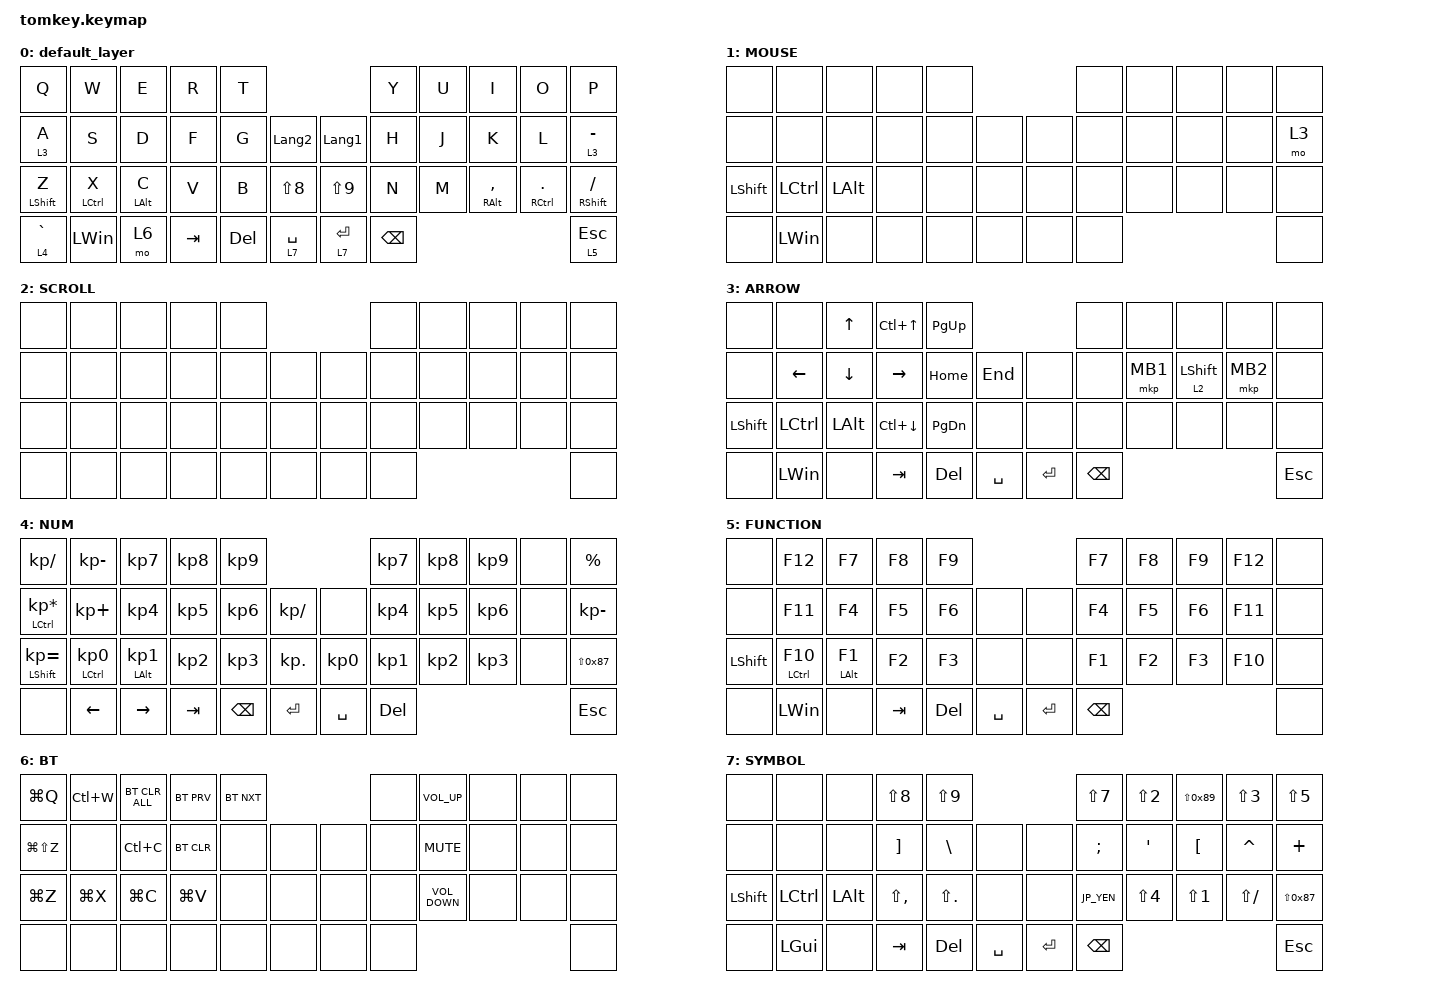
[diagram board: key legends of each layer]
#include <behaviors.dtsi>
#include <dt-bindings/zmk/bt.h>
#include <dt-bindings/zmk/keys.h>
#include <dt-bindings/zmk/pointing.h>

// OS設定を日本語キーボードのまま使用するための変換定義

#define JP_DQUOTE       AT                // "
#define JP_AMPERSAND    CARET             // &
#define JP_QUOTE        AMPERSAND         // '
#define JP_EQUAL        UNDER             // =
#define JP_CARET        EQUAL             // ^
#define JP_YEN          0x89              // ¥
#define JP_PLUS         COLON             // +
#define JP_TILDE        PLUS              // ~
#define JP_PIPE         LS(0x89)          // |
#define JP_AT           LEFT_BRACKET      // @
#define JP_COLON        SINGLE_QUOTE      // :
#define JP_ASTERISK     DOUBLE_QUOTES     // *
#define JP_BACKQUOTE    LEFT_BRACE        // `
#define JP_UNDERSCORE   LS(0x87)          // _
#define JP_LBRACKET     RIGHT_BRACKET     // [
#define JP_RBRACKET     BACKSLASH         // ]
#define JP_LPAREN       ASTERISK          // (
#define JP_RPAREN       LEFT_PARENTHESIS  // )
#define JP_LBRACE       RIGHT_BRACE       // {
#define JP_RBRACE       PIPE              // }
#define JP_KANA         LANGUAGE_1        // かな
#define JP_EISU         LANGUAGE_2        // 英数
#define JP_HANZEN       GRAVE             // 半角/全角

&mt { flavor = "tap-preferred"; };

/ {
    behaviors {
        ST: Scroll_Tap {
            compatible = "zmk,behavior-hold-tap";
            label = "SCROLL / TAP";
            bindings = <&mo>, <&kp>;

            #binding-cells = <2>;
            flavor = "balanced";
            hold-while-undecided;
            tapping-term-ms = <200>;
        };
    };

    keymap {
        compatible = "zmk,keymap";

        default_layer {
            bindings = <
&kp Q        &kp W         &kp E           &kp R    &kp T                                            &kp Y     &kp U  &kp I                &kp O             &kp P
&lt 3 A      &kp S         &kp D           &kp F    &kp G    &kp LANGUAGE_2        &kp LANGUAGE_1    &kp H     &kp J  &kp K                &kp L             &lt 3 MINUS
&mt LSHFT Z  &mt LCTRL X   &mt LEFT_ALT C  &kp V    &kp B    &kp LS(NUMBER_8)      &kp LS(NUMBER_9)  &kp N     &kp M  &mt RIGHT_ALT COMMA  &mt RCTRL PERIOD  &mt RSHFT SLASH
&lt 4 GRAVE  &kp LEFT_WIN  &mo 6           &kp TAB  &kp DEL  &lt 7 SPACE           &lt 7 ENTER       &kp BSPC                                                &lt 5 ESC
            >;
        };

        MOUSE {
            bindings = <
&none           &none         &none         &none  &none                    &none  &none  &none  &none  &none
&none           &none         &none         &none  &none  &none      &none  &none  &none  &none  &none  &mo 3
&kp LEFT_SHIFT  &kp LCTRL     &kp LEFT_ALT  &none  &none  &none      &none  &none  &none  &none  &none  &none
&none           &kp LEFT_WIN  &none         &none  &none  &none      &none  &none                       &none
            >;
        };

        SCROLL {
            bindings = <
&none  &none  &none  &none  &none                    &none  &none  &none  &none  &none
&none  &none  &none  &none  &none  &none      &none  &none  &none  &none  &none  &none
&none  &none  &none  &none  &none  &none      &none  &none  &none  &none  &none  &none
&none  &none  &none  &none  &none  &none      &none  &none                       &none
            >;
        };

        ARROW {
            bindings = <
&none           &none           &kp UP_ARROW    &kp LC(UP_ARROW)    &kp PG_UP                                &none          &none     &none        &none     &none
&none           &kp LEFT_ARROW  &kp DOWN_ARROW  &kp RIGHT_ARROW     &kp HOME       &kp END        &none      &none          &mkp MB1  &ST 2 LSHFT  &mkp MB2  &none
&kp LEFT_SHIFT  &kp LCTRL       &kp LEFT_ALT    &kp LC(DOWN_ARROW)  &kp PAGE_DOWN  &none          &none      &none          &none     &none        &none     &none
&none           &kp LEFT_WIN    &none           &kp TAB             &kp DEL        &kp SPACE      &kp ENTER  &kp BACKSPACE                                   &kp ESC
            >;
        };

        NUM {
            bindings = <
&kp KP_SLASH             &kp KP_MINUS           &kp KP_NUMBER_7           &kp KP_NUMBER_8  &kp KP_NUMBER_9                                     &kp KP_NUMBER_7  &kp KP_NUMBER_8  &kp KP_NUMBER_9  &none  &kp PERCENT
&mt LCTRL KP_ASTERISK    &kp KP_PLUS            &kp KP_NUMBER_4           &kp KP_NUMBER_5  &kp KP_NUMBER_6  &kp KP_SLASH      &none            &kp KP_NUMBER_4  &kp KP_NUMBER_5  &kp KP_NUMBER_6  &none  &kp KP_MINUS
&mt LEFT_SHIFT KP_EQUAL  &mt LCTRL KP_NUMBER_0  &mt LEFT_ALT KP_NUMBER_1  &kp KP_NUMBER_2  &kp KP_NUMBER_3  &kp KP_DOT        &kp KP_NUMBER_0  &kp KP_NUMBER_1  &kp KP_NUMBER_2  &kp KP_NUMBER_3  &none  &kp LS(0x87)
&none                    &kp LEFT_ARROW         &kp RIGHT_ARROW           &kp TAB          &kp BSPC         &kp ENTER         &kp SPACE        &kp DEL                                                   &kp ESC
            >;
        };

        FUNCTION {
            bindings = <
&none      &kp F12        &kp F7           &kp F8   &kp F9                             &kp F7    &kp F8  &kp F9  &kp F12  &none
&none      &kp F11        &kp F4           &kp F5   &kp F6   &none          &none      &kp F4    &kp F5  &kp F6  &kp F11  &none
&kp LSHFT  &mt LCTRL F10  &mt LEFT_ALT F1  &kp F2   &kp F3   &none          &none      &kp F1    &kp F2  &kp F3  &kp F10  &none
&none      &kp LEFT_WIN   &none            &kp TAB  &kp DEL  &kp SPACE      &kp ENTER  &kp BSPC                           &none
            >;
        };

        BT {
            bindings = <
&kp LG(Q)      &kp LC(W)  &bt BT_CLR_ALL  &bt BT_PRV  &bt BT_NXT                    &none  &kp C_VOLUME_UP    &none  &none  &none
&kp LG(LS(Z))  &none      &kp LC(C)       &bt BT_CLR  &none       &none      &none  &none  &kp C_MUTE         &none  &none  &none
&kp LG(Z)      &kp LG(X)  &kp LG(C)       &kp LG(V)   &none       &none      &none  &none  &kp C_VOLUME_DOWN  &none  &none  &none
&none          &none      &none           &none       &none       &none      &none  &none                                   &none
            >;
        };

        SYMBOL {
            bindings = <
&none      &none      &none     &kp LS(N8)         &kp LS(N9)                                &kp LS(N7)     &kp LS(NUMBER_2)  &kp JP_PIPE       &kp LS(NUMBER_3)  &kp LS(N5)
&none      &none      &none     &kp RIGHT_BRACKET  &kp BACKSLASH   &none          &none      &kp SEMICOLON  &kp SQT           &kp LEFT_BRACKET  &kp JP_AMPERSAND  &kp JP_TILDE
&kp LSHFT  &kp LCTRL  &kp LALT  &kp LS(COMMA)      &kp LS(PERIOD)  &none          &none      &kp JP_YEN     &kp LS(NUMBER_4)  &kp LS(NUMBER_1)  &kp LS(SLASH)     &kp JP_UNDERSCORE
&none      &kp LGUI   &none     &kp TAB            &kp DEL         &kp SPACE      &kp ENTER  &kp BSPC                                                             &kp ESC
            >;
        };
    };
};
